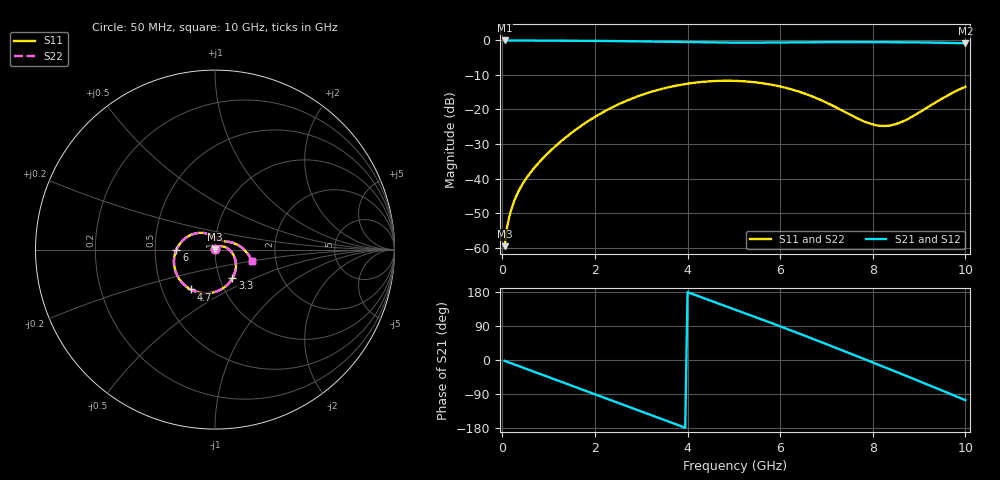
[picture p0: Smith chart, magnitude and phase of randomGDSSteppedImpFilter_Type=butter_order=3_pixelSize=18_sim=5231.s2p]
! freq	dB(S11)	phase(S11)	dB(S12)	phase(S12)
!  dB(S21)	phase(S21)	dB(S22)	phase(S22)
!S-par simulation data
#  GHz  S  DB  R 50
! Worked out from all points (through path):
!   200 points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, 50 MHz to 10 GHz, reference 50 ohm
!   highest |S21| = 0.00 dB at 50 MHz (marker M1); lowest = -0.8 dB at 10 GHz (marker M2)
!   group delay of S21, straight-line fit = 128 ps
!   lowest |S11| = -59.6 dB at 50 MHz (marker M3), VSWR 1.00, Z = 50 + j0.102 ohm
!   |S11| at or under -10 dB: start of sweep to end of sweep
!   |S22| runs from -59.6 to -11.7 dB; largest |S21 - S12| = 0
!   S11 on the Smith chart (normalised r, x): 50 MHz: 1.00, +0.00; 3.3 GHz: 1.15, -0.38; 4.7 GHz: 0.70, -0.33; 6 GHz: 0.65, -0.00; 10 GHz: 1.50, -0.20
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0.05  -59.59 75.5  -0.00 -2.3  -0.00 -2.3  -59.56 75.4
0.1  -54.37 74.8  -0.01 -4.6  -0.01 -4.6  -54.36 74.7
0.2  -48.71 74.3  -0.02 -9.1  -0.02 -9.1  -48.71 74.2
0.45  -41.33 68.1  -0.03 -20.3  -0.03 -20.3  -41.33 68.0
1.15  -30.60 39.5  -0.06 -51.9  -0.06 -51.9  -30.60 39.4
1.75  -24.30 12.2  -0.10 -79.0  -0.10 -79.0  -24.30 12.1
2.5  -18.56 -22.2  -0.19 -113.1  -0.19 -113.1  -18.56 -22.3
3.3  -14.56 -58.7  -0.34 -149.4  -0.34 -149.4  -14.56 -58.8
3.4  -14.19 -63.2  -0.36 -153.9  -0.36 -153.9  -14.19 -63.3
4.05  -12.43 -92.3  -0.51 176.8  -0.51 176.8  -12.43 -92.5
4.7  -11.70 -121.2  -0.61 147.7  -0.61 147.7  -11.70 -121.4
5.05  -11.72 -136.8  -0.64 132.0  -0.64 132.0  -11.72 -136.9
5.55  -12.27 -159.2  -0.63 109.5  -0.63 109.5  -12.27 -159.3
6  -13.33 -179.8  -0.60 88.9  -0.60 88.9  -13.33 -179.9
6.7  -16.25 147.0  -0.52 56.1  -0.52 56.1  -16.25 146.8
7.55  -21.78 102.9  -0.48 15.4  -0.48 15.4  -21.78 102.7
7.95  -24.14 80.1  -0.48 -4.0  -0.48 -4.0  -24.13 80.0
8.35  -24.68 58.0  -0.50 -23.6  -0.50 -23.6  -24.67 58.2
8.85  -22.08 34.7  -0.55 -48.3  -0.55 -48.3  -22.08 35.1
9.25  -18.82 17.2  -0.61 -68.2  -0.61 -68.2  -18.82 17.7
9.65  -15.70 -0.8  -0.70 -88.3  -0.70 -88.3  -15.69 -0.4
10  -13.40 -17.3  -0.83 -106.0  -0.83 -106.0  -13.40 -16.9
